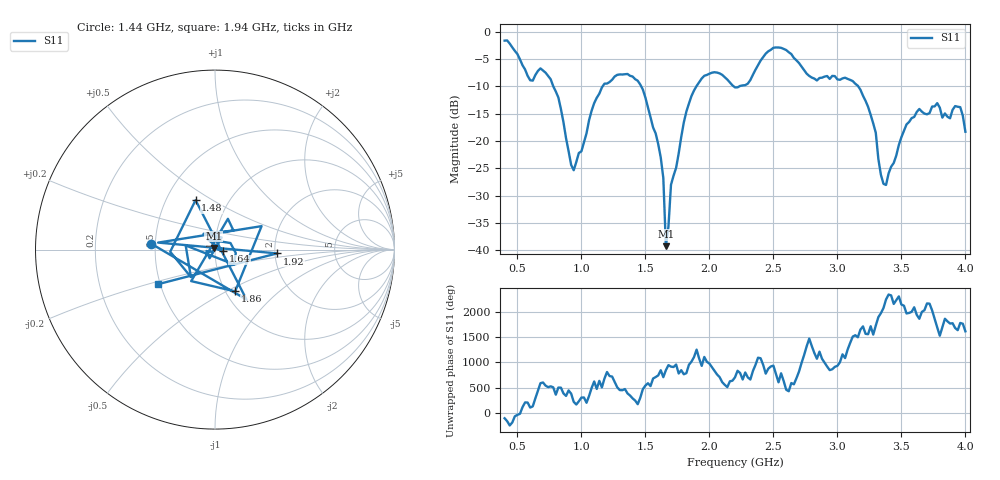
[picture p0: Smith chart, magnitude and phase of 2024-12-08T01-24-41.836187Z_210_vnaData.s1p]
!Created with skrf (http://scikit-rf.org).
# Hz S RI R 50.0
!freq ReS11 ImS11
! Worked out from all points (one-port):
!   181 points, 400 MHz to 4 GHz, reference 50 ohm
!   lowest |S11| = -39.3 dB at 1.66 GHz (marker M1), VSWR 1.02, Z = 49.3 + j0.859 ohm
!   |S11| at or under -10 dB: 780.6 MHz to 1.165 GHz (384.8 MHz wide, 39.5 % of centre); 1.468 GHz to 1.898 GHz (430.4 MHz wide, 25.6 % of centre); 3.163 GHz to end of sweep (the widest 3 of 4)
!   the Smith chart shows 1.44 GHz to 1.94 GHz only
!   S11 on the Smith chart (normalised r, x): 1.44 GHz: 0.47, +0.04; 1.48 GHz: 0.70, +0.42; 1.64 GHz: 1.09, -0.02; 1.86 GHz: 1.11, -0.55; 1.92 GHz: 2.05, -0.10; 1.94 GHz: 0.48, -0.22
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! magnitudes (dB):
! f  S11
! 400 MHz  -1.6
! 600 MHz  -8.9
! 760 MHz  -8.7
! 860 MHz  -16.6
! 940 MHz  -25.4
! 1.1 GHz  -13.0
! 1.3 GHz  -7.8
! 1.44 GHz  -9.0
! 1.48 GHz  -10.6
! 1.6 GHz  -20.6
! 1.64 GHz  -26.8
! 1.66 GHz  -39.3
! 1.7 GHz  -28.0
! 1.76 GHz  -22.3
! 1.86 GHz  -11.8
! 1.92 GHz  -9.2
! 1.94 GHz  -8.5
! 2.2 GHz  -10.2
! 2.5 GHz  -2.9
! 2.66 GHz  -4.8
! 2.84 GHz  -8.9
! 3.1 GHz  -8.8
! 3.26 GHz  -15.2
! 3.36 GHz  -27.9
! 3.56 GHz  -16.5
! 3.92 GHz  -13.6
! 3.96 GHz  -13.8
! 4 GHz  -18.3
